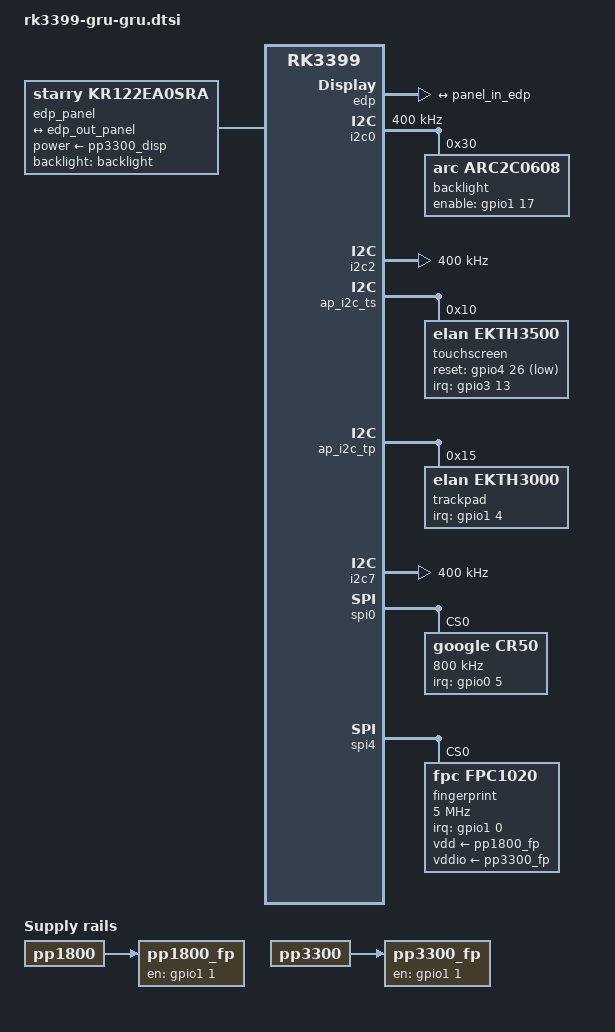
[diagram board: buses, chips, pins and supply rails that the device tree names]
/*
 * Google Gru-Gru board device tree source
 *
 * Copyright 2016 Google, Inc
 *
 * This file is dual-licensed: you can use it either under the terms
 * of the GPL or the X11 license, at your option. Note that this dual
 * licensing only applies to this file, and not this project as a
 * whole.
 *
 *  a) This file is free software; you can redistribute it and/or
 *     modify it under the terms of the GNU General Public License as
 *     published by the Free Software Foundation; either version 2 of the
 *     License, or (at your option) any later version.
 *
 *     This file is distributed in the hope that it will be useful,
 *     but WITHOUT ANY WARRANTY; without even the implied warranty of
 *     MERCHANTABILITY or FITNESS FOR A PARTICULAR PURPOSE.  See the
 *     GNU General Public License for more details.
 *
 *  Or, alternatively,
 *
 *  b) Permission is hereby granted, free of charge, to any person
 *     obtaining a copy of this software and associated documentation
 *     files (the "Software"), to deal in the Software without
 *     restriction, including without limitation the rights to use,
 *     copy, modify, merge, publish, distribute, sublicense, and/or
 *     sell copies of the Software, and to permit persons to whom the
 *     Software is furnished to do so, subject to the following
 *     conditions:
 *
 *     The above copyright notice and this permission notice shall be
 *     included in all copies or substantial portions of the Software.
 *
 *     THE SOFTWARE IS PROVIDED "AS IS", WITHOUT WARRANTY OF ANY KIND,
 *     EXPRESS OR IMPLIED, INCLUDING BUT NOT LIMITED TO THE WARRANTIES
 *     OF MERCHANTABILITY, FITNESS FOR A PARTICULAR PURPOSE AND
 *     NONINFRINGEMENT. IN NO EVENT SHALL THE AUTHORS OR COPYRIGHT
 *     HOLDERS BE LIABLE FOR ANY CLAIM, DAMAGES OR OTHER LIABILITY,
 *     WHETHER IN AN ACTION OF CONTRACT, TORT OR OTHERWISE, ARISING
 *     FROM, OUT OF OR IN CONNECTION WITH THE SOFTWARE OR THE USE OR
 *     OTHER DEALINGS IN THE SOFTWARE.
 */

#include "rk3399-gru.dtsi"

/ {
	// TODO: Model:
	// - pp1200_mipi_cam
	// - pp1800_mipi_cam
	// - pp2800_mipi_cam

	/* pp1800 children */

	pp1800_fp: pp1800-fp {
		compatible = "regulator-fixed";
		regulator-name = "pp1800_fp";
		pinctrl-names = "default";
		pinctrl-0 = <&fp_en>;

		enable-active-high;
		gpio = <&gpio1 1 GPIO_ACTIVE_HIGH>;

		vin-supply = <&pp1800>;
	};

	/* pp3300 children */

	pp3300_fp: pp3300-fp {
		compatible = "regulator-fixed";
		regulator-name = "pp3300_fp";
		/* NOTE: fp_en pinctrl in pp1800_fp */

		enable-active-high;
		gpio = <&gpio1 1 GPIO_ACTIVE_HIGH>;

		vin-supply = <&pp3300>;
	};

	edp_panel: edp-panel {
		compatible = "starry,kr122ea0sra", "simple-panel";
		backlight = <&backlight>;
		power-supply = <&pp3300_disp>;

		ports {
			panel_in_edp: endpoint {
				remote-endpoint = <&edp_out_panel>;
			};
		};
	};
};

/* pp1800 alias; EC turns on w/ pp1800_s0_en_l */
pp1800_gps: &pp1800_s0 {
};

&edp {
	status = "okay";

	ports {
		edp_out: port@1 {
			reg = <1>;
			#address-cells = <1>;
			#size-cells = <0>;

			edp_out_panel: endpoint@0 {
				reg = <0>;
				remote-endpoint = <&panel_in_edp>;
			};
		};
	};
};

ap_i2c_bl: &i2c0 {
	status = "okay";

	clock-frequency = <400000>;

	/* These are relatively safe rise/fall times; TODO: measure */
	i2c-scl-falling-time-ns = <50>;
	i2c-scl-rising-time-ns = <300>;

	backlight: backlight@30 {
		compatible = "arc,arc2c0608";
		reg = <0x30>;
		default-brightness = <0x828>; /* arbitrary, ~51% */
		enable-gpios = <&gpio1 17 GPIO_ACTIVE_HIGH>;
		pinctrl-names = "default";
		pinctrl-0 = <&bl_en>;
		arc,led-config-0 = <0x00>;
		arc,led-config-1 = <0x57>;
	};
};

ap_i2c_cam: &i2c2 {
	status = "okay";

	clock-frequency = <400000>;

	/* These are relatively safe rise/fall times; TODO: measure */
	i2c-scl-falling-time-ns = <50>;
	i2c-scl-rising-time-ns = <300>;

	// TODO: add MIPI camera node
};

&ap_i2c_ts {
	touchscreen: touchscreen@10 {
		compatible = "elan,ekth3500";
		reg = <0x10>;

		pinctrl-names = "default";
		pinctrl-0 = <&touch_int_l &touch_reset_l>;

		interrupt-parent = <&gpio3>;
		interrupts = <13 IRQ_TYPE_LEVEL_LOW>;

		reset-gpios = <&gpio4 26 GPIO_ACTIVE_LOW>;
	};
};

&ap_i2c_tp {
	trackpad: trackpad@15 {
		compatible = "elan,ekth3000";
		reg = <0x15>;

		pinctrl-names = "default";
		pinctrl-0 = <&trackpad_int_l>;

		interrupt-parent = <&gpio1>;
		interrupts = <4 IRQ_TYPE_LEVEL_LOW>;

		wakeup-source;
	};
};

ap_i2c_nfc: &i2c7 {
	status = "okay";

	clock-frequency = <400000>;

	/* These are relatively safe rise/fall times; TODO: measure */
	i2c-scl-falling-time-ns = <50>;
	i2c-scl-rising-time-ns = <300>;

	// TODO: add NFC module
};

&spi0 {
	status = "okay";

	cr50@0 {
		compatible = "google,cr50";

		interrupt-parent = <&gpio0>;
		interrupts = <5 IRQ_TYPE_EDGE_RISING>;

		pinctrl-names = "default";
		pinctrl-0 = <&h1_int_od_l>;

		reg = <0>;
		spi-max-frequency = <800000>;
	};
};

&spi4 {
	status = "okay";

	fingerprint@0 {
		compatible = "fpc,fpc1020";
		reg = <0>;
		spi-max-frequency = <5000000>;

		pinctrl-names = "default";
		pinctrl-0 = <&fp_int>;

		interrupt-parent = <&gpio1>;
		interrupts = <0 IRQ_TYPE_LEVEL_LOW>;

		vdd-supply = <&pp1800_fp>;
		vddio-supply = <&pp3300_fp>;
	};
};

&u2phy1_host {
	phy-supply = <&pp5000_usb_a_vbus>;
};

/* PINCTRL: always below everything else */

&pinctrl {
	fingerprint {
		fp_int: fp-int {
			rockchip,pins = <RK_GPIO1 0 RK_FUNC_GPIO
					 &pcfg_pull_up>;
		};

		fp_en: fp-en {
			rockchip,pins = <RK_GPIO1 1 RK_FUNC_GPIO
					 &pcfg_pull_none>;
		};
	};

	// TODO: GPS not handled: http://crosbug.com/p/55782
	gps {
		gps_en: gps-en {
			rockchip,pins =
				<RK_GPIO4 28 RK_FUNC_GPIO &pcfg_pull_down>;
		};

		gps_host_wake: gps-host-wake {
			rockchip,pins =
				<RK_GPIO1 14 RK_FUNC_GPIO &pcfg_pull_down>;
		};

		gps_reset_l: gps-reset-l {
			rockchip,pins =
				<RK_GPIO1 24 RK_FUNC_GPIO &pcfg_pull_up>;
		};
	};
};

/* DON'T PUT ANYTHING BELOW HERE.  PUT IT ABOVE PINCTRL */
/* DON'T PUT ANYTHING BELOW HERE.  PUT IT ABOVE PINCTRL */
/* DON'T PUT ANYTHING BELOW HERE.  PUT IT ABOVE PINCTRL */
